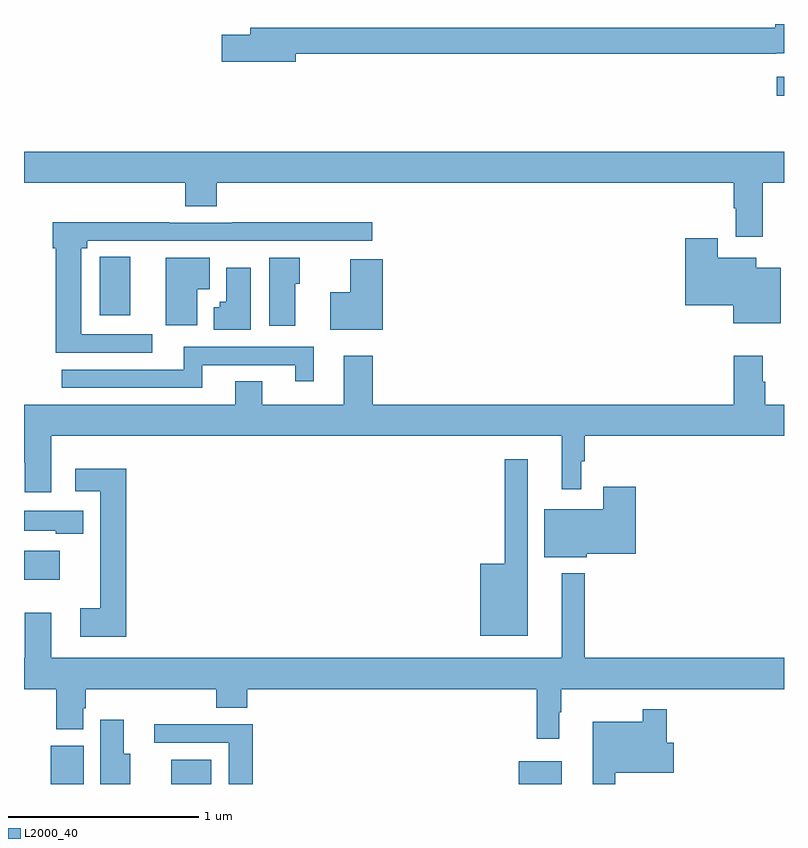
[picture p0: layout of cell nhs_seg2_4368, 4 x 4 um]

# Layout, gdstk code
import gdstk
lib = gdstk.Library(unit=1e-6, precision=1e-09)
def R(c, l, rs):  # rectangles x0, y0, x1, y1
    for r in rs: c.add(gdstk.rectangle(r[:2], r[2:], *l))
def P(c, l, *ps):  # polygons
    for p in ps: c.add(gdstk.Polygon(p, *l))
L2000_40 = (2000, 40)

nhs_seg2_4368 = lib.new_cell('nhs_seg2_4368')
R(nhs_seg2_4368, L2000_40, [(347.141,649.8,347.314,650.002), (347.774,649.8,347.986,649.927), (349.604,649.8,349.831,649.921), (347,650.876,347.188,651.028), (347.399,652.266,347.56,652.574), (350.961,653.422,351,653.523)])
P(nhs_seg2_4368, L2000_40, [(348.43,653.644),(350.958,653.644),(350.958,653.645),(351,653.645),(351,653.8),(350.954,653.8),(350.954,653.78),(348.191,653.78),(348.191,653.744),(348.042,653.744),(348.042,653.602),(348.43,653.602)],
  [(347,652.964),(347.849,652.964),(347.849,652.84),(348.014,652.84),(348.014,652.964),(350.735,652.964),(350.735,652.83),(350.747,652.83),(350.747,652.68),(350.887,652.68),(350.887,652.964),(351,652.964),(351,653.128),(347,653.128)],
  [(347.674,652.167),(347.302,652.167),(347.302,652.62),(347.332,652.62),(347.332,652.659),(348.832,652.659),(348.832,652.757),(348.097,652.757),(348.097,652.755),(347.765,652.755),(347.765,652.757),(347.15,652.757),(347.15,652.62),(347.168,652.62),(347.168,652.071),(347.674,652.071)],
  [(350.983,652.516),(350.854,652.516),(350.854,652.57),(350.65,652.57),(350.65,652.672),(350.48,652.672),(350.48,652.319),(350.732,652.319),(350.732,652.226),(350.983,652.226)],
  [(347.911,652.405),(347.977,652.405),(347.977,652.57),(347.747,652.57),(347.747,652.215),(347.911,652.215)],
  [(348.427,652.434),(348.451,652.434),(348.451,652.57),(348.29,652.57),(348.29,652.212),(348.427,652.212)],
  [(348.887,652.561),(348.716,652.561),(348.716,652.387),(348.611,652.387),(348.611,652.19),(348.887,652.19)],
  [(348.193,652.516),(348.065,652.516),(348.065,652.338),(348.03,652.338),(348.03,652.31),(347.999,652.31),(347.999,652.19),(348.193,652.19)],
  [(347.938,652.005),(348.428,652.005),(348.428,651.921),(348.526,651.921),(348.526,652.101),(347.84,652.101),(347.84,651.981),(347.199,651.981),(347.199,651.885),(347.938,651.885)],
  [(347.143,651.632),(349.829,651.632),(349.829,651.351),(349.933,651.351),(349.933,651.5),(349.951,651.5),(349.951,651.632),(351,651.632),(351,651.796),(350.9,651.796),(350.9,651.917),(350.887,651.917),(350.887,652.054),(350.735,652.054),(350.735,651.796),(348.836,651.796),(348.836,652.054),(348.683,652.054),(348.683,651.796),(348.253,651.796),(348.253,651.92),(348.113,651.92),(348.113,651.796),(347,651.796),(347,651.492),(347.003,651.492),(347.003,651.336),(347.143,651.336)],
  [(349.651,651.508),(349.53,651.508),(349.53,650.959),(349.4,650.959),(349.4,650.579),(349.651,650.579)],
  [(347.537,651.46),(347.271,651.46),(347.271,651.341),(347.402,651.341),(347.402,650.724),(347.295,650.724),(347.295,650.576),(347.537,650.576)],
  [(349.962,651.011),(350.219,651.011),(350.219,651.364),(350.048,651.364),(350.048,651.247),(349.739,651.247),(349.739,650.993),(349.962,650.993)],
  [(347.311,651.238),(347,651.238),(347,651.134),(347.166,651.134),(347.166,651.116),(347.311,651.116)],
  [(349.816,650.177),(349.828,650.177),(349.828,650.3),(351,650.3),(351,650.464),(349.951,650.464),(349.951,650.908),(349.829,650.908),(349.829,650.464),(347.143,650.464),(347.143,650.701),(347.003,650.701),(347.003,650.464),(347,650.464),(347,650.3),(347.171,650.3),(347.171,650.087),(347.311,650.087),(347.311,650.199),(347.324,650.199),(347.324,650.3),(348.011,650.3),(348.011,650.201),(348.176,650.201),(348.176,650.3),(349.699,650.3),(349.699,650.037),(349.816,650.037)],
  [(350.111,649.859),(350.419,649.859),(350.419,650.017),(350.384,650.017),(350.384,650.194),(350.256,650.194),(350.256,650.128),(349.994,650.128),(349.994,649.8),(350.111,649.8)],
  [(347.56,649.96),(347.524,649.96),(347.524,650.137),(347.402,650.137),(347.402,649.8),(347.56,649.8)],
  [(348.203,650.114),(347.685,650.114),(347.685,650.016),(348.077,650.016),(348.077,649.8),(348.203,649.8)])

lib.write_gds('nhs_seg2_4368.gds')
